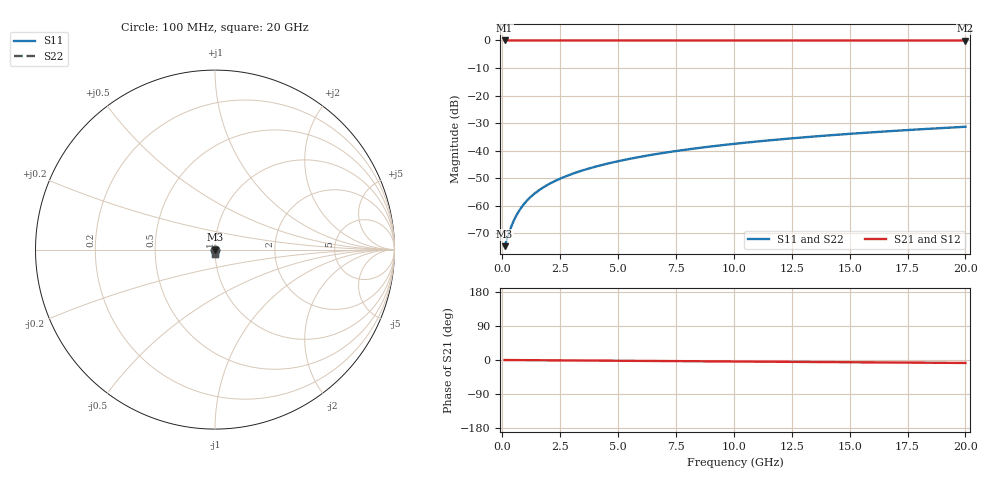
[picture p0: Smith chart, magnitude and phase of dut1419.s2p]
! Touchstone file exported from HFSS 2026.1.0
!  File:  C:/ffzhzh/LocalFiles/Ansys_Project_Files/temp_train_TSV_1419_1783197253_18472.aedt
!  Generated:  04:35:38 AM Jul  5, 2026
!  Design:  TSV
!  Project:  temp_train_TSV_1419_1783197253_18472
! Variables:
!  h_bsmrdl = 2um
!  h_ox = 20um
!  h_rdl = 5um
!  h_sub = 81.08um
!  h_tmrdl = 5um
!  h_tsv = 81.08um
!  h_via = 3um
!  l_bsmrdl = 300um
!  l_sub = 417.52um
!  l_tmrdl = 200um
!  m_sub = 200um
!  pitch = 29.3um
!  r_tsv = 8.76um
!  s_tmrdl = 10um
!  w_bsmrdl = 18um
!  w_sub = 500um
!  w_tmrdl = 12um
!  x_tsv_center1 = 206um
!  x_tsv_center2 = 524um
!  x_tsv_center3 = 736um
!  x_tsv_center4 = 1054um
!  x_tsv_center5 = 1266um
!  x_tsv_center6 = 1584um
# GHz S MA R 50.000000
! Terminal data exported
! Port[1] = TSV1_1_T1
! Port[2] = TSV1_1_T2
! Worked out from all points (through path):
!   200 points, 100 MHz to 20 GHz, reference 50 ohm
!   highest |S21| = 0.00 dB at 100 MHz (marker M1); lowest = 0.0 dB at 20 GHz (marker M2)
!   group delay of S21, straight-line fit = 1.09 ps
!   lowest |S11| = -74.6 dB at 100 MHz (marker M3), VSWR 1.00, Z = 50 - j0.0084 ohm
!   |S11| at or under -10 dB: start of sweep to end of sweep
!   |S22| runs from -74.6 to -31.3 dB; largest |S21 - S12| = 3.9e-15
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0.1  0.0001855 -26.9  0.9998 -0.0  0.9998 -0.0  0.0001855 -26.9
! Gamma 0 0 0 0
! Port Impedance 50 0 50 0
0.3  0.000335 -52.7  0.9998 -0.1  0.9998 -0.1  0.000335 -52.7
0.4  0.0004344 -58.1  0.9998 -0.2  0.9998 -0.2  0.0004344 -58.1
0.5  0.0005435 -61.7  0.9997 -0.2  0.9997 -0.2  0.0005435 -61.7
0.6  0.0006594 -64.4  0.9997 -0.2  0.9997 -0.2  0.0006594 -64.4
0.7  0.0007802 -66.6  0.9997 -0.3  0.9997 -0.3  0.0007802 -66.6
0.9  0.001031 -69.9  0.9996 -0.4  0.9996 -0.4  0.001031 -69.9
1.2  0.001417 -73.5  0.9996 -0.5  0.9996 -0.5  0.001417 -73.5
1.4  0.001677 -75.3  0.9996 -0.6  0.9996 -0.6  0.001677 -75.3
1.6  0.001938 -76.7  0.9995 -0.6  0.9995 -0.6  0.001938 -76.7
2.1  0.002591 -79.3  0.9995 -0.8  0.9995 -0.8  0.002591 -79.3
2.7  0.003378 -81.3  0.9994 -1.1  0.9994 -1.1  0.003378 -81.3
3.5  0.004436 -83.0  0.9993 -1.4  0.9993 -1.4  0.004436 -83.0
4.2  0.005371 -84.1  0.9993 -1.7  0.9993 -1.7  0.005371 -84.1
5  0.006449 -85.1  0.9992 -2.0  0.9992 -2.0  0.006449 -85.1
5.9  0.007671 -86.0  0.9991 -2.3  0.9991 -2.3  0.007671 -86.0
6.8  0.008901 -86.8  0.999 -2.7  0.999 -2.7  0.008901 -86.8
8.3  0.01096 -88.0  0.9989 -3.3  0.9989 -3.3  0.01096 -88.0
10.1  0.01345 -89.2  0.9988 -4.0  0.9988 -4.0  0.01345 -89.2
13.4  0.01801 -91.2  0.9986 -5.3  0.9986 -5.3  0.01801 -91.2
16.7  0.02259 -92.9  0.9983 -6.5  0.9983 -6.5  0.02259 -92.9
20  0.02719 -94.5  0.998 -7.8  0.998 -7.8  0.02719 -94.5
